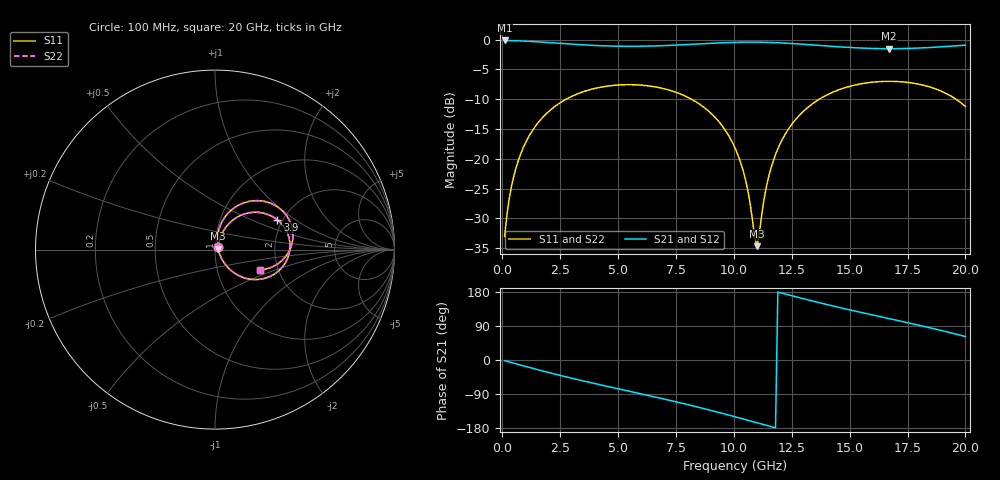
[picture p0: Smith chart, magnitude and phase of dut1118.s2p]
! Touchstone file exported from HFSS 2026.1.0
!  File:  C:/ffzhzh/LocalFiles/Ansys_Project_Files/temp_train_TSV_RDL_1118_1783306008_38820.aedt
!  Generated:  10:58:14 AM Jul  6, 2026
!  Design:  TSV_RDL
!  Project:  temp_train_TSV_RDL_1118_1783306008_38820
! Variables:
!  h_bsmrdl = 5um
!  h_ox = 20um
!  h_rdl = 5um
!  h_sub = 90.34um
!  h_tmrdl = 5.86um
!  h_tsv = 90.34um
!  h_via = 3um
!  l_bsmrdl = 273.05um
!  l_sub = 4721.24um
!  l_tmrdl = 846.61um
!  m_sub = 200um
!  pitch = 42.57um
!  r_tsv = 14.03um
!  s_tmrdl = 10um
!  w_bsmrdl = 23.13um
!  w_sub = 500um
!  w_tmrdl = 15.42um
!  x_tsv_center1 = 854.32um
!  x_tsv_center2 = 1150.5um
!  x_tsv_center3 = 2012.53um
!  x_tsv_center4 = 2308.71um
!  x_tsv_center5 = 3170.74um
!  x_tsv_center6 = 3466.92um
# GHz S MA R 50.000000
! Terminal data exported
! Port[1] = TM_RDL1_1_T1
! Port[2] = TM_RDL5_1_T1
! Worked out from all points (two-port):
!   200 points, 100 MHz to 20 GHz, reference 50 ohm
!   highest |S21| = -0.15 dB at 100 MHz (marker M1); lowest = -1.5 dB at 16.7 GHz (marker M2)
!   |S21| within 3 dB of the highest: start of sweep to end of sweep
!   lowest |S11| = -34.7 dB at 11 GHz (marker M3), VSWR 1.04, Z = 51.8 + j0.544 ohm
!   |S11| at or under -10 dB: start of sweep to 2.755 GHz; 8.169 GHz to 13.69 GHz (5.52 GHz wide, 50.5 % of centre); 19.6 GHz to end of sweep
!   |S22| runs from -34.7 to -7.0 dB; largest |S21 - S12| = 1.7e-14
!   S11 on the Smith chart (normalised r, x): 100 MHz: 1.03, +0.03; 3.9 GHz: 1.88, +0.73; 20 GHz: 1.61, -0.39
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0.1  0.02237 39.8  0.9832 -1.8  0.9832 -1.8  0.02237 39.8
! Gamma 0 0 0 0
! Port Impedance 50 0 50 0
0.3  0.04648 61.7  0.9809 -5.2  0.9809 -5.2  0.04648 61.7
0.5  0.07215 66.0  0.9784 -8.6  0.9784 -8.6  0.07215 66.0
1.1  0.1483 63.3  0.968 -18.5  0.968 -18.5  0.1483 63.3
2.1  0.259 50.2  0.9418 -34.5  0.9418 -34.5  0.259 50.2
3.5  0.3657 30.8  0.9033 -55.2  0.9033 -55.2  0.3657 30.8
3.9  0.3854 25.4  0.8947 -60.9  0.8947 -60.9  0.3854 25.4
5.4  0.4189 5.8  0.8782 -81.3  0.8782 -81.3  0.4189 5.8
6.8  0.3944 -12.3  0.8871 -100.4  0.8871 -100.4  0.3944 -12.3
8.8  0.2618 -39.3  0.927 -129.8  0.927 -129.8  0.2618 -39.3
9.5  0.1886 -48.4  0.9407 -140.8  0.9407 -140.8  0.1887 -48.4
10.1  0.1173 -54.5  0.9489 -150.6  0.9489 -150.6  0.1174 -54.5
10.6  0.05475 -51.9  0.9519 -158.9  0.9519 -158.9  0.05479 -51.9
11  0.01851 16.5  0.9515 -165.6  0.9515 -165.6  0.0185 16.3
11.4  0.05771 76.8  0.9483 -172.3  0.9483 -172.3  0.05766 76.8
11.8  0.1086 79.2  0.9426 -178.9  0.9426 -178.9  0.1086 79.2
12.5  0.1944 72.5  0.9275 169.7  0.9275 169.7  0.1944 72.5
13.4  0.29 60.7  0.902 155.6  0.902 155.6  0.29 60.7
14.9  0.4001 40.7  0.8608 133.7  0.8608 133.7  0.4001 40.7
16.7  0.4468 17.9  0.8388 109.3  0.8388 109.3  0.4468 17.9
18.3  0.4089 -2.3  0.8546 87.5  0.8546 87.5  0.4088 -2.4
20  0.275 -24.4  0.8973 61.9  0.8973 61.9  0.275 -24.4
